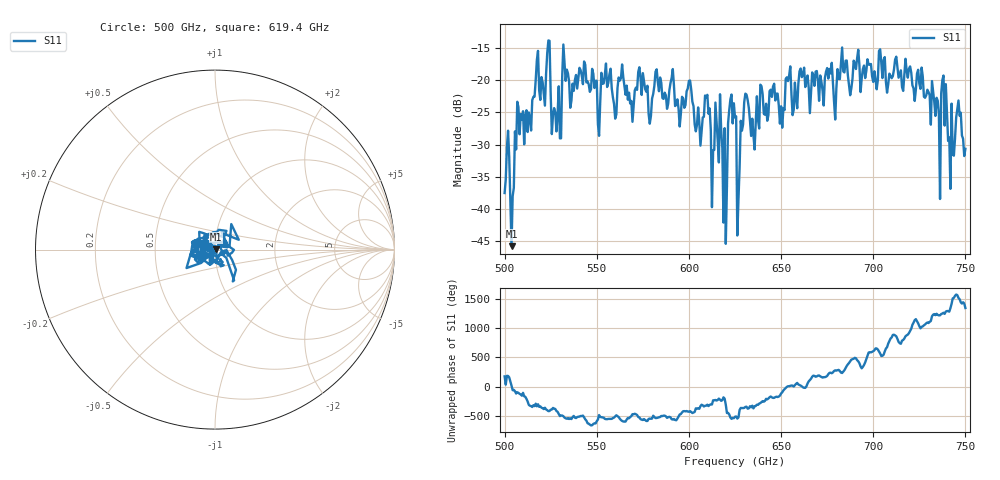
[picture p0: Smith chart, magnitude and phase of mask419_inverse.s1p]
!Created with skrf (http://scikit-rf.org).
# GHz S MA R 50.0
!freq magS11 angS11
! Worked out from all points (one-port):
!   401 points, 500 GHz to 750 GHz, reference 50 ohm
!   lowest |S11| = -45.8 dB at 503.8 GHz (marker M1), VSWR 1.01, Z = 50.5 + j0.148 ohm
!   |S11| at or under -10 dB: start of sweep to end of sweep
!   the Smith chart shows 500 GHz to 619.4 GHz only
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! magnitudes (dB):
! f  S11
! 500 GHz  -37.5
! 501.9 GHz  -27.9
! 503.8 GHz  -45.8
! 506.9 GHz  -23.4
! 513.8 GHz  -25.9
! 516.9 GHz  -20.0
! 523.8 GHz  -13.8
! 526.9 GHz  -24.3
! 531.2 GHz  -19.4
! 562.5 GHz  -20.1
! 593.8 GHz  -23.0
! 610 GHz  -22.3
! 612.5 GHz  -39.7
! 618.1 GHz  -30.6
! 619.4 GHz  -27.5
! 622.5 GHz  -23.0
! 625 GHz  -25.8
! 627.5 GHz  -33.6
! 631.2 GHz  -22.3
! 635 GHz  -28.5
! 656.2 GHz  -25.4
! 687.5 GHz  -22.3
! 718.8 GHz  -19.6
! 735 GHz  -23.2
! 738.1 GHz  -19.3
! 742.5 GHz  -23.7
! 746.2 GHz  -23.2
! 750 GHz  -30.7
